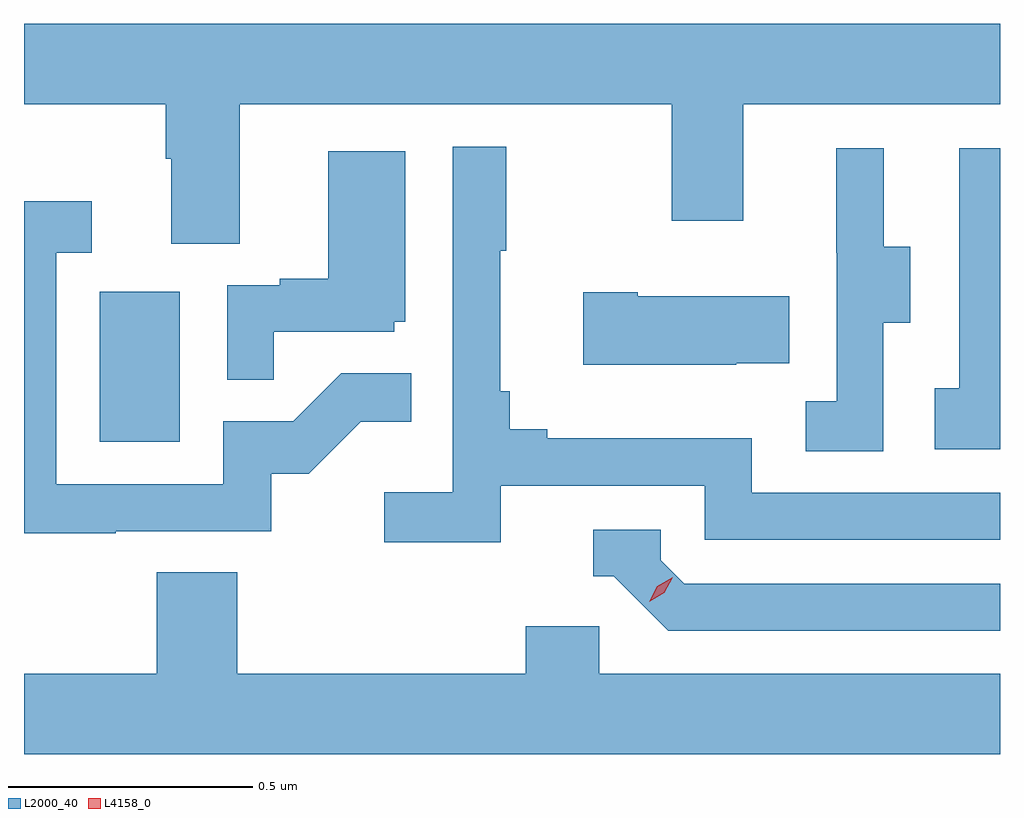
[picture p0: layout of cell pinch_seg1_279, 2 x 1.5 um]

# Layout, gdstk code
import gdstk
lib = gdstk.Library(unit=1e-6, precision=1e-09)
def R(c, l, rs):  # rectangles x0, y0, x1, y1
    for r in rs: c.add(gdstk.rectangle(r[:2], r[2:], *l))
def P(c, l, *ps):  # polygons
    for p in ps: c.add(gdstk.Polygon(p, *l))
L2000_40 = (2000, 40)
L4158_0 = (4158, 0)

pinch_seg1_279 = lib.new_cell('pinch_seg1_279')
R(pinch_seg1_279, L2000_40, [(900.584,552.372,900.748,552.679)])
P(pinch_seg1_279, L2000_40, [(900.871,553.064),(901.756,553.064),(901.756,552.825),(901.903,552.825),(901.903,553.064),(902.429,553.064),(902.429,553.228),(900.429,553.228),(900.429,553.064),(900.719,553.064),(900.719,552.952),(900.731,552.952),(900.731,552.778),(900.871,552.778)],
  [(901.406,552.282),(901.824,552.282),(901.824,552.171),(902.429,552.171),(902.429,552.267),(901.92,552.267),(901.92,552.379),(901.501,552.379),(901.501,552.398),(901.424,552.398),(901.424,552.475),(901.405,552.475),(901.405,552.763),(901.417,552.763),(901.417,552.976),(901.308,552.976),(901.308,552.268),(901.167,552.268),(901.167,552.166),(901.406,552.166)],
  [(902.429,552.973),(902.346,552.973),(902.346,552.482),(902.295,552.482),(902.295,552.357),(902.429,552.357)],
  [(902.19,552.616),(902.245,552.616),(902.245,552.771),(902.191,552.771),(902.191,552.973),(902.093,552.973),(902.093,552.759),(902.094,552.759),(902.094,552.455),(902.031,552.455),(902.031,552.352),(902.19,552.352)],
  [(900.941,552.597),(901.188,552.597),(901.188,552.618),(901.21,552.618),(901.21,552.967),(901.052,552.967),(901.052,552.706),(900.953,552.706),(900.953,552.693),(900.846,552.693),(900.846,552.499),(900.941,552.499)],
  [(900.617,552.189),(900.936,552.189),(900.936,552.306),(901.012,552.306),(901.119,552.413),(901.223,552.413),(901.223,552.512),(901.079,552.512),(900.981,552.414),(900.837,552.414),(900.837,552.285),(900.495,552.285),(900.495,552.759),(900.568,552.759),(900.568,552.865),(900.429,552.865),(900.429,552.184),(900.617,552.184)],
  [(901.889,552.533),(901.997,552.533),(901.997,552.67),(901.687,552.67),(901.687,552.678),(901.575,552.678),(901.575,552.53),(901.889,552.53)],
  [(902.429,552.081),(901.782,552.081),(901.734,552.129),(901.734,552.192),(901.595,552.192),(901.595,552.096),(901.638,552.096),(901.749,551.985),(902.429,551.985)],
  [(902.429,551.896),(901.608,551.896),(901.608,551.994),(901.457,551.994),(901.457,551.896),(900.866,551.896),(900.866,552.104),(900.701,552.104),(900.701,551.896),(900.429,551.896),(900.429,551.732),(902.429,551.732)])
P(pinch_seg1_279, L4158_0, [(901.71,552.044),(901.71,552.044),(901.727,552.076),(901.758,552.094),(901.758,552.094),(901.758,552.094),(901.741,552.062),(901.71,552.044)])

lib.write_gds('pinch_seg1_279.gds')
